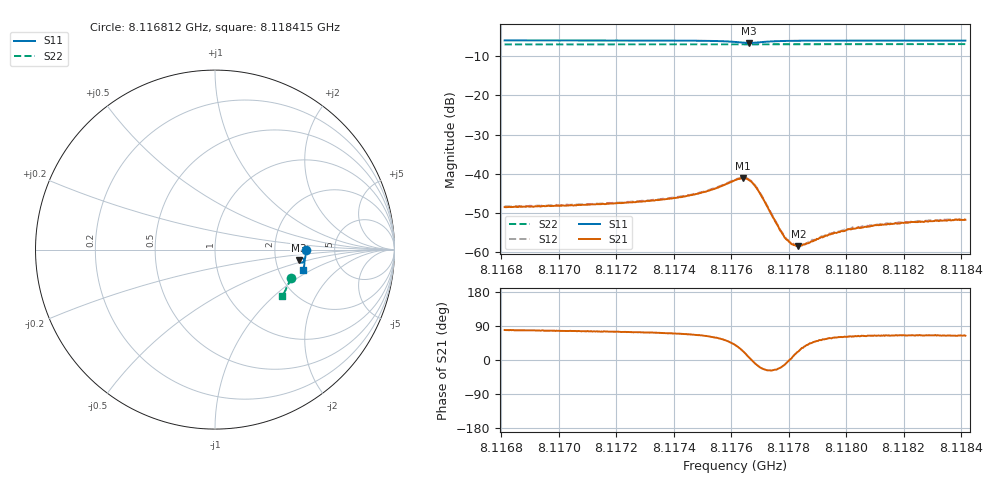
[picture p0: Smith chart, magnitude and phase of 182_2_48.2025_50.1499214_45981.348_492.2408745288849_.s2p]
#  HZ  S  RI  R  50.00
! Rohde & Schwarz Vector Network Analyzer
! Rohde-Schwarz,ZNB20-2Port,1311601062101988,3.16
! Created: UTC 3/20/2024, 11:44:10 AM
! freq[Hz]  re:S11  im:S11  re:S21  im:S21  re:S12  im:S12  re:S22  im:S22
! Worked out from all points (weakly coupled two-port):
!   401 points, 8.116812 GHz to 8.118415 GHz, reference 50 ohm
!   highest |S21| = -41.18 dB at 8.117641 GHz (marker M1); lowest = -58.6 dB at 8.117834 GHz (marker M2)
!   lowest |S11| = -6.5 dB at 8.117662 GHz (marker M3), VSWR 2.78, Z = 135 - j20.5 ohm
!   |S11| at or under -10 dB: nowhere
!   |S22| runs from -6.9 to -6.8 dB; largest |S21 - S12| = 0.00021
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8.1168117e9  0.5063 -0.00268  0.000697 0.00365  0.000767 0.00372  0.4224 -0.1569
8.1170803e9  0.5055 -0.0236  0.000976 0.00386  0.000998 0.0039  0.4161 -0.1746
8.1172286e9  0.5042 -0.0357  0.00116 0.00408  0.00123 0.00408  0.4123 -0.1841
8.1173488e9  0.5025 -0.0461  0.00145 0.00435  0.00153 0.00442  0.4092 -0.1921
8.117433e9  0.5007 -0.0544  0.00183 0.00472  0.00192 0.00478  0.4068 -0.1974
8.1175092e9  0.4971 -0.0629  0.0026 0.00522  0.00266 0.00529  0.4044 -0.2025
8.1176134e9  0.4793 -0.0732  0.00631 0.00529  0.00648 0.00534  0.4005 -0.2089
8.1176415e9  0.4699 -0.068  0.00803 0.00342  0.00821 0.00339  0.3994 -0.2102
8.1176615e9  0.4671 -0.0588  0.00822 0.00107  0.00836 0.000993  0.3989 -0.211
8.1176776e9  0.47 -0.0515  0.00734 -0.00067  0.00748 -0.000756  0.3985 -0.2117
8.1176976e9  0.4773 -0.0466  0.00551 -0.00176  0.0056 -0.00184  0.3985 -0.2128
8.1177658e9  0.4941 -0.0536  0.00188 -0.000774  0.0019 -0.000813  0.397 -0.2173
8.1177898e9  0.4962 -0.0576  0.00145 -0.000249  0.00147 -0.000223  0.3963 -0.2189
8.1178098e9  0.4972 -0.0605  0.00124 8.92e-05  0.00127 0.000103  0.3958 -0.2204
8.1178339e9  0.4981 -0.0636  0.00109 0.000451  0.00114 0.000449  0.3951 -0.2218
8.1178539e9  0.4984 -0.0662  0.00101 0.00072  0.00103 0.000688  0.3947 -0.2231
8.117882e9  0.4986 -0.0695  0.000949 0.000969  0.00101 0.001  0.3936 -0.225
8.1179421e9  0.4984 -0.0756  0.000886 0.0014  0.000942 0.00142  0.3917 -0.2288
8.1180063e9  0.4978 -0.0816  0.000925 0.0017  0.00093 0.0017  0.3895 -0.2328
8.1180664e9  0.4973 -0.087  0.000939 0.00186  0.000931 0.00194  0.3875 -0.2365
8.1181506e9  0.4961 -0.0938  0.000968 0.00202  0.00101 0.00205  0.3845 -0.2416
8.1184152e9  0.4917 -0.1144  0.00112 0.00231  0.00113 0.00238  0.375 -0.2577
